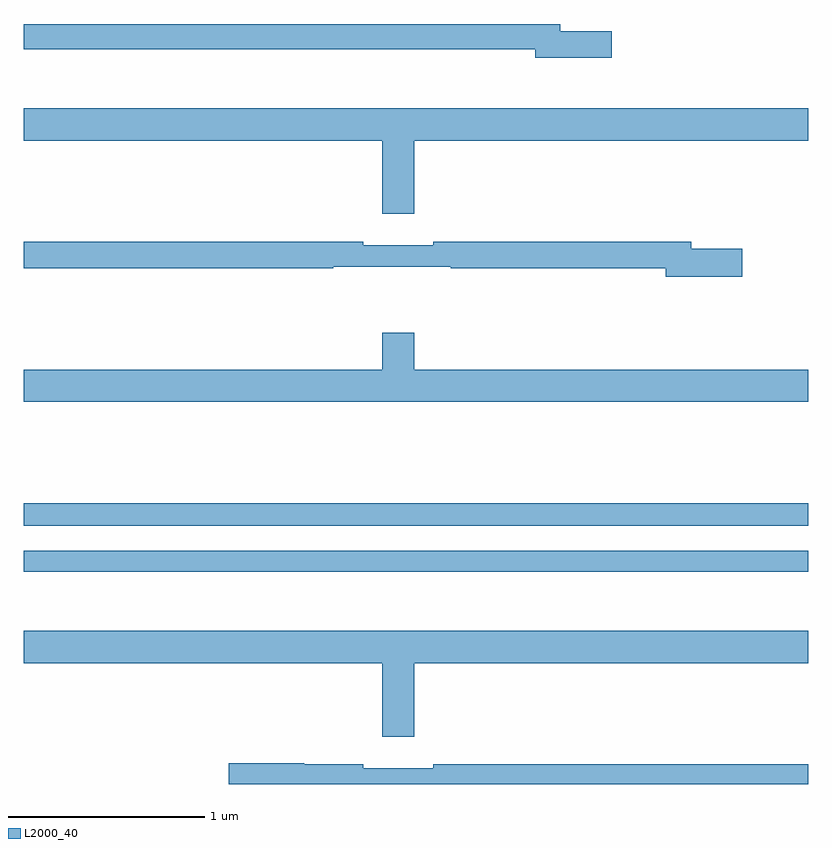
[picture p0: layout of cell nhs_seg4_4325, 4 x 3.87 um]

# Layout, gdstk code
import gdstk
lib = gdstk.Library(unit=1e-6, precision=1e-09)
def R(c, l, rs):  # rectangles x0, y0, x1, y1
    for r in rs: c.add(gdstk.rectangle(r[:2], r[2:], *l))
def P(c, l, *ps):  # polygons
    for p in ps: c.add(gdstk.Polygon(p, *l))
L2000_40 = (2000, 40)

nhs_seg4_4325 = lib.new_cell('nhs_seg4_4325')
R(nhs_seg4_4325, L2000_40, [(343,767.982,347,768.09), (343,768.216,347,768.332)])
P(nhs_seg4_4325, L2000_40, [(345.997,770.738),(345.736,770.738),(345.736,770.774),(343,770.774),(343,770.646),(345.608,770.646),(345.608,770.603),(345.997,770.603)],
  [(344.992,770.18),(347,770.18),(347,770.344),(343,770.344),(343,770.18),(344.828,770.18),(344.828,769.806),(344.992,769.806)],
  [(346.663,769.628),(346.402,769.628),(346.402,769.664),(345.088,769.664),(345.088,769.645),(344.732,769.645),(344.732,769.664),(343,769.664),(343,769.528),(344.578,769.528),(344.578,769.536),(345.178,769.536),(345.178,769.528),(346.274,769.528),(346.274,769.486),(346.663,769.486)],
  [(347,769.012),(344.992,769.012),(344.992,769.201),(344.828,769.201),(344.828,769.012),(343,769.012),(343,768.848),(347,768.848)],
  [(344.992,767.516),(347,767.516),(347,767.68),(343,767.68),(343,767.516),(344.828,767.516),(344.828,767.142),(344.992,767.142)],
  [(347,767),(345.088,767),(345.088,766.981),(344.732,766.981),(344.732,767),(344.43,767),(344.43,767.006),(344.046,767.006),(344.046,766.9),(347,766.9)])

lib.write_gds('nhs_seg4_4325.gds')
